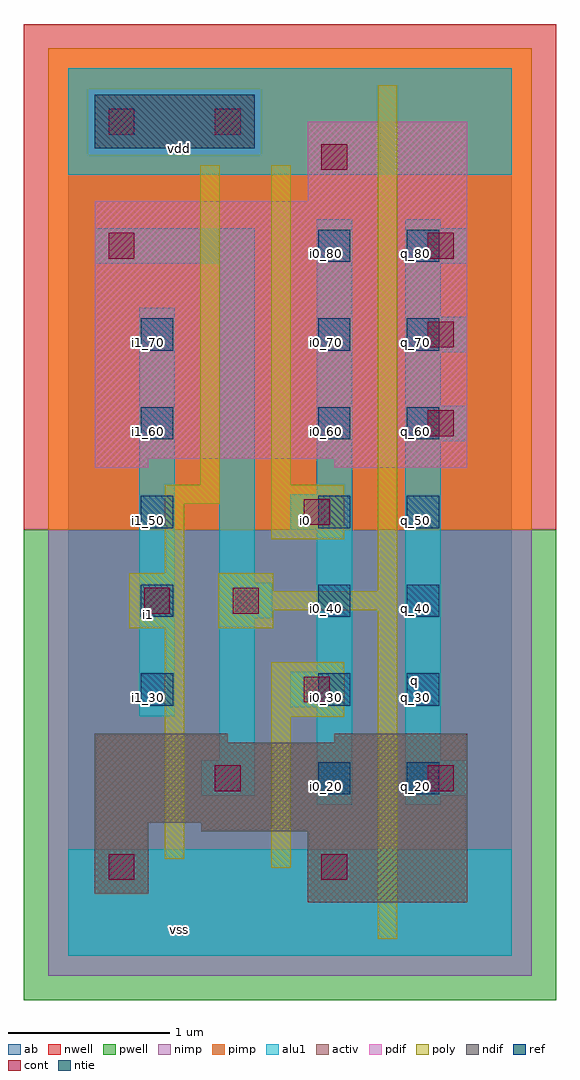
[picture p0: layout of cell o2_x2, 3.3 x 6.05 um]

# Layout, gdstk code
import gdstk
lib = gdstk.Library(unit=1e-6, precision=2.5e-09)
def R(c, l, rs):  # rectangles x0, y0, x1, y1
    for r in rs: c.add(gdstk.rectangle(r[:2], r[2:], *l))
def A(c, l, x, y, w, h, nx, ny, dx, dy):  # array of equal rectangles
    R(c, l, [(x+i*dx, y+j*dy, x+i*dx+w, y+j*dy+h) for i in range(nx) for j in range(ny)])
ndif = (3, 0)
pdif = (4, 0)
ntie = (5, 0)
ref = (24, 0)
cont = (25, 0)
pwell = (41, 0)
nwell = (42, 0)
activ = (43, 0)
pimp = (44, 0)
nimp = (45, 0)
poly = (46, 0)
alu1 = (49, 0)
ab = (63, 0)

o2_x2 = lib.new_cell('o2_x2')
R(o2_x2, ndif, [(1.485,0.33,2.475,0.77), (0.165,0.385,0.495,0.825), (0.825,0.77,2.475,0.825), (0.165,0.825,2.475,1.32), (0.165,1.32,0.99,1.375), (1.65,1.32,2.475,1.375)])
R(o2_x2, pdif, [(0.165,3.025,0.495,3.08), (1.65,3.025,2.475,3.08), (0.165,3.08,2.475,4.675), (1.485,4.675,2.475,5.17)])
R(o2_x2, ntie, [(0.165,5.005,1.155,5.335)])
A(o2_x2, ref, 1.55, 1, 0.2, 0.2, 1, 7, 0, 0.55)
A(o2_x2, ref, 2.1, 1, 0.2, 0.2, 1, 7, 0, 0.55)
A(o2_x2, ref, 0.45, 1.55, 0.2, 0.2, 1, 5, 0, 0.55)
A(o2_x2, cont, 2.23, 3.22, 0.16, 0.16, 1, 3, 0, 0.55)
R(o2_x2, cont, [(0.25,0.47,0.41,0.63), (1.57,0.47,1.73,0.63), (0.91,1.02,1.07,1.18), (2.23,1.02,2.39,1.18), (1.46,1.57,1.62,1.73), (0.47,2.12,0.63,2.28), (1.02,2.12,1.18,2.28), (1.46,2.67,1.62,2.83), (0.25,4.32,0.41,4.48), (1.57,4.87,1.73,5.03), (0.25,5.09,0.41,5.25), (0.91,5.09,1.07,5.25)])
R(o2_x2, pwell, [(-0.275,-0.275,3.025,2.64)])
R(o2_x2, nwell, [(-0.275,2.64,3.025,5.775)])
R(o2_x2, activ, [(1.485,0.33,2.475,0.77), (0.165,0.385,0.495,0.825), (0.825,0.77,2.475,0.825), (0.165,0.825,2.475,1.32), (0.165,1.32,0.99,1.375), (1.65,1.32,2.475,1.375), (0.165,3.025,0.495,3.08), (1.65,3.025,2.475,3.08), (0.165,3.08,2.475,4.675), (1.485,4.675,2.475,5.17), (0.165,5.005,1.155,5.335)])
R(o2_x2, pimp, [(-0.125,2.64,2.875,4.965), (-0.125,4.965,0.125,5.375), (1.195,4.965,2.875,5.375), (-0.125,5.375,2.875,5.625)])
R(o2_x2, nimp, [(-0.125,-0.125,2.875,2.64), (0.125,4.965,1.195,5.375)])
R(o2_x2, poly, [(1.92,0.105,2.04,2.14), (1.26,0.545,1.38,1.48), (0.6,0.6,0.72,2.03), (1.26,1.48,1.71,1.82), (0.38,2.03,0.72,2.37), (0.93,2.03,1.27,2.14), (0.93,2.14,2.04,2.26), (0.93,2.26,1.27,2.37), (1.92,2.26,2.04,5.395), (0.6,2.37,0.72,2.8), (1.26,2.58,1.71,2.92), (0.6,2.8,0.94,2.92), (0.82,2.92,0.94,4.9), (1.26,2.92,1.38,4.9)])
A(o2_x2, alu1, 2.09, 3.19, 0.385, 0.22, 1, 3, 0, 0.55)
R(o2_x2, alu1, [(0,0,2.75,0.66), (1.54,0.935,1.76,1.54), (2.09,0.935,2.31,0.99), (0.825,0.99,1.155,1.21), (2.09,0.99,2.475,1.21), (0.935,1.21,1.155,2.09), (2.09,1.21,2.31,3.19), (0.44,1.485,0.66,4.015), (1.375,1.54,1.76,1.76), (1.54,1.76,1.76,2.64), (0.935,2.09,1.265,2.31), (0.935,2.31,1.155,4.29), (1.375,2.64,1.76,2.86), (1.54,2.86,1.76,4.565), (2.09,3.41,2.31,3.74), (2.09,3.96,2.31,4.29), (0.165,4.29,1.155,4.51), (2.09,4.51,2.31,4.565), (0,4.84,2.75,5.5)])
R(o2_x2, ab, [(0,0,2.75,5.5)])
o2_x2.add(gdstk.Label('vss', (0.6875,0.165), layer=49, texttype=0))
o2_x2.add(gdstk.Label('q', (2.145,1.705), layer=49, texttype=0))
o2_x2.add(gdstk.Label('i0', (1.47,2.695), layer=49, texttype=0))
o2_x2.add(gdstk.Label('i1', (0.495,2.1175), layer=49, texttype=0))
o2_x2.add(gdstk.Label('vdd', (0.6875,5.005), layer=49, texttype=0))
o2_x2.add(gdstk.Label('i1_60', (0.5,3.25), layer=24, texttype=0))
o2_x2.add(gdstk.Label('i1_70', (0.5,3.8), layer=24, texttype=0))
o2_x2.add(gdstk.Label('i1_30', (0.5,1.6), layer=24, texttype=0))
o2_x2.add(gdstk.Label('i1_40', (0.5,2.15), layer=24, texttype=0))
o2_x2.add(gdstk.Label('i1_50', (0.5,2.7), layer=24, texttype=0))
o2_x2.add(gdstk.Label('i0_20', (1.6,1.05), layer=24, texttype=0))
o2_x2.add(gdstk.Label('i0_50', (1.6,2.7), layer=24, texttype=0))
o2_x2.add(gdstk.Label('i0_60', (1.6,3.25), layer=24, texttype=0))
o2_x2.add(gdstk.Label('i0_70', (1.6,3.8), layer=24, texttype=0))
o2_x2.add(gdstk.Label('i0_80', (1.6,4.35), layer=24, texttype=0))
o2_x2.add(gdstk.Label('i0_30', (1.6,1.6), layer=24, texttype=0))
o2_x2.add(gdstk.Label('i0_40', (1.6,2.15), layer=24, texttype=0))
o2_x2.add(gdstk.Label('q_30', (2.15,1.6), layer=24, texttype=0))
o2_x2.add(gdstk.Label('q_40', (2.15,2.15), layer=24, texttype=0))
o2_x2.add(gdstk.Label('q_50', (2.15,2.7), layer=24, texttype=0))
o2_x2.add(gdstk.Label('q_60', (2.15,3.25), layer=24, texttype=0))
o2_x2.add(gdstk.Label('q_70', (2.15,3.8), layer=24, texttype=0))
o2_x2.add(gdstk.Label('q_80', (2.15,4.35), layer=24, texttype=0))
o2_x2.add(gdstk.Label('q_20', (2.15,1.05), layer=24, texttype=0))

lib.write_gds('o2_x2.gds')
